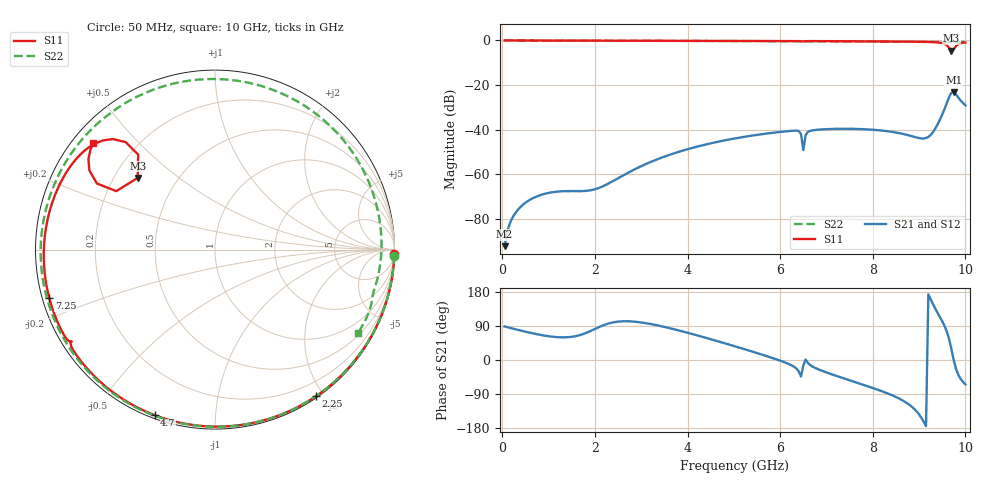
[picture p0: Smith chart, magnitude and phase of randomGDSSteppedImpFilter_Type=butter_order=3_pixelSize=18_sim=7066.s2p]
! freq	dB(S11)	phase(S11)	dB(S12)	phase(S12)
!  dB(S21)	phase(S21)	dB(S22)	phase(S22)
!S-par simulation data
#  GHz  S  DB  R 50
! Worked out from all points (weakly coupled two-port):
!   200 points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, 50 MHz to 10 GHz, reference 50 ohm
!   highest |S21| = -23.14 dB at 9.75 GHz (marker M1); lowest = -92.2 dB at 50 MHz (marker M2)
!   lowest |S11| = -4.6 dB at 9.7 GHz (marker M3), VSWR 3.85, Z = 14.8 + j18.1 ohm
!   |S11| at or under -10 dB: nowhere
!   |S22| runs from -0.8 to 0.0 dB; largest |S21 - S12| = 0
!   S11 on the Smith chart (normalised r, x): 50 MHz: 1, -89; 2.25 GHz: 0.02, -1.90; 4.7 GHz: 0.01, -0.70; 7.25 GHz: 0.02, -0.14; 10 GHz: 0.06, +0.38
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0.05  -0.00 -1.3  -92.18 88.5  -92.18 88.5  -0.00 -2.0
0.2  -0.01 -5.1  -80.22 83.7  -80.22 83.7  -0.01 -7.7
0.45  -0.01 -11.4  -73.52 76.1  -73.52 76.1  -0.02 -17.3
0.8  -0.03 -20.1  -69.46 66.7  -69.46 66.7  -0.04 -30.6
1.75  -0.05 -43.5  -67.47 68.6  -67.47 68.6  -0.08 -65.8
2.25  -0.07 -55.4  -64.58 94.7  -64.58 94.7  -0.10 -83.5
3.4  -0.11 -81.8  -52.83 90.1  -52.83 90.1  -0.15 -122.8
4.7  -0.16 -110.0  -45.20 47.9  -45.20 47.9  -0.23 -166.3
5.05  -0.18 -117.4  -43.80 35.2  -43.80 35.2  -0.25 -178.4
6.4  -0.30 -146.1  -40.56 -29.6  -40.56 -29.6  -0.36 131.4
6.45  -0.38 -147.3  -41.90 -43.6  -41.90 -43.6  -0.37 129.4
6.5  -0.46 -147.3  -49.17 -14.7  -49.17 -14.7  -0.38 127.4
6.55  -0.34 -148.1  -42.38 1.2  -42.38 1.2  -0.38 125.5
6.7  -0.29 -151.6  -40.28 -17.3  -40.28 -17.3  -0.38 119.3
7.25  -0.34 -163.6  -39.60 -43.4  -39.60 -43.4  -0.43 95.7
8.35  -0.46 171.3  -40.76 -89.7  -40.76 -89.7  -0.53 45.1
9.2  -0.66 148.2  -43.22 173.2  -43.22 173.2  -0.64 5.1
9.55  -1.54 132.7  -30.66 89.8  -30.66 89.8  -0.74 -10.8
9.7  -4.62 137.2  -23.36 27.4  -23.36 27.4  -0.76 -16.8
9.75  -3.89 149.4  -23.14 -1.6  -23.14 -1.6  -0.71 -18.9
9.85  -1.64 147.8  -25.65 -39.7  -25.65 -39.7  -0.67 -23.6
10  -0.89 138.7  -29.08 -64.2  -29.08 -64.2  -0.70 -30.4
